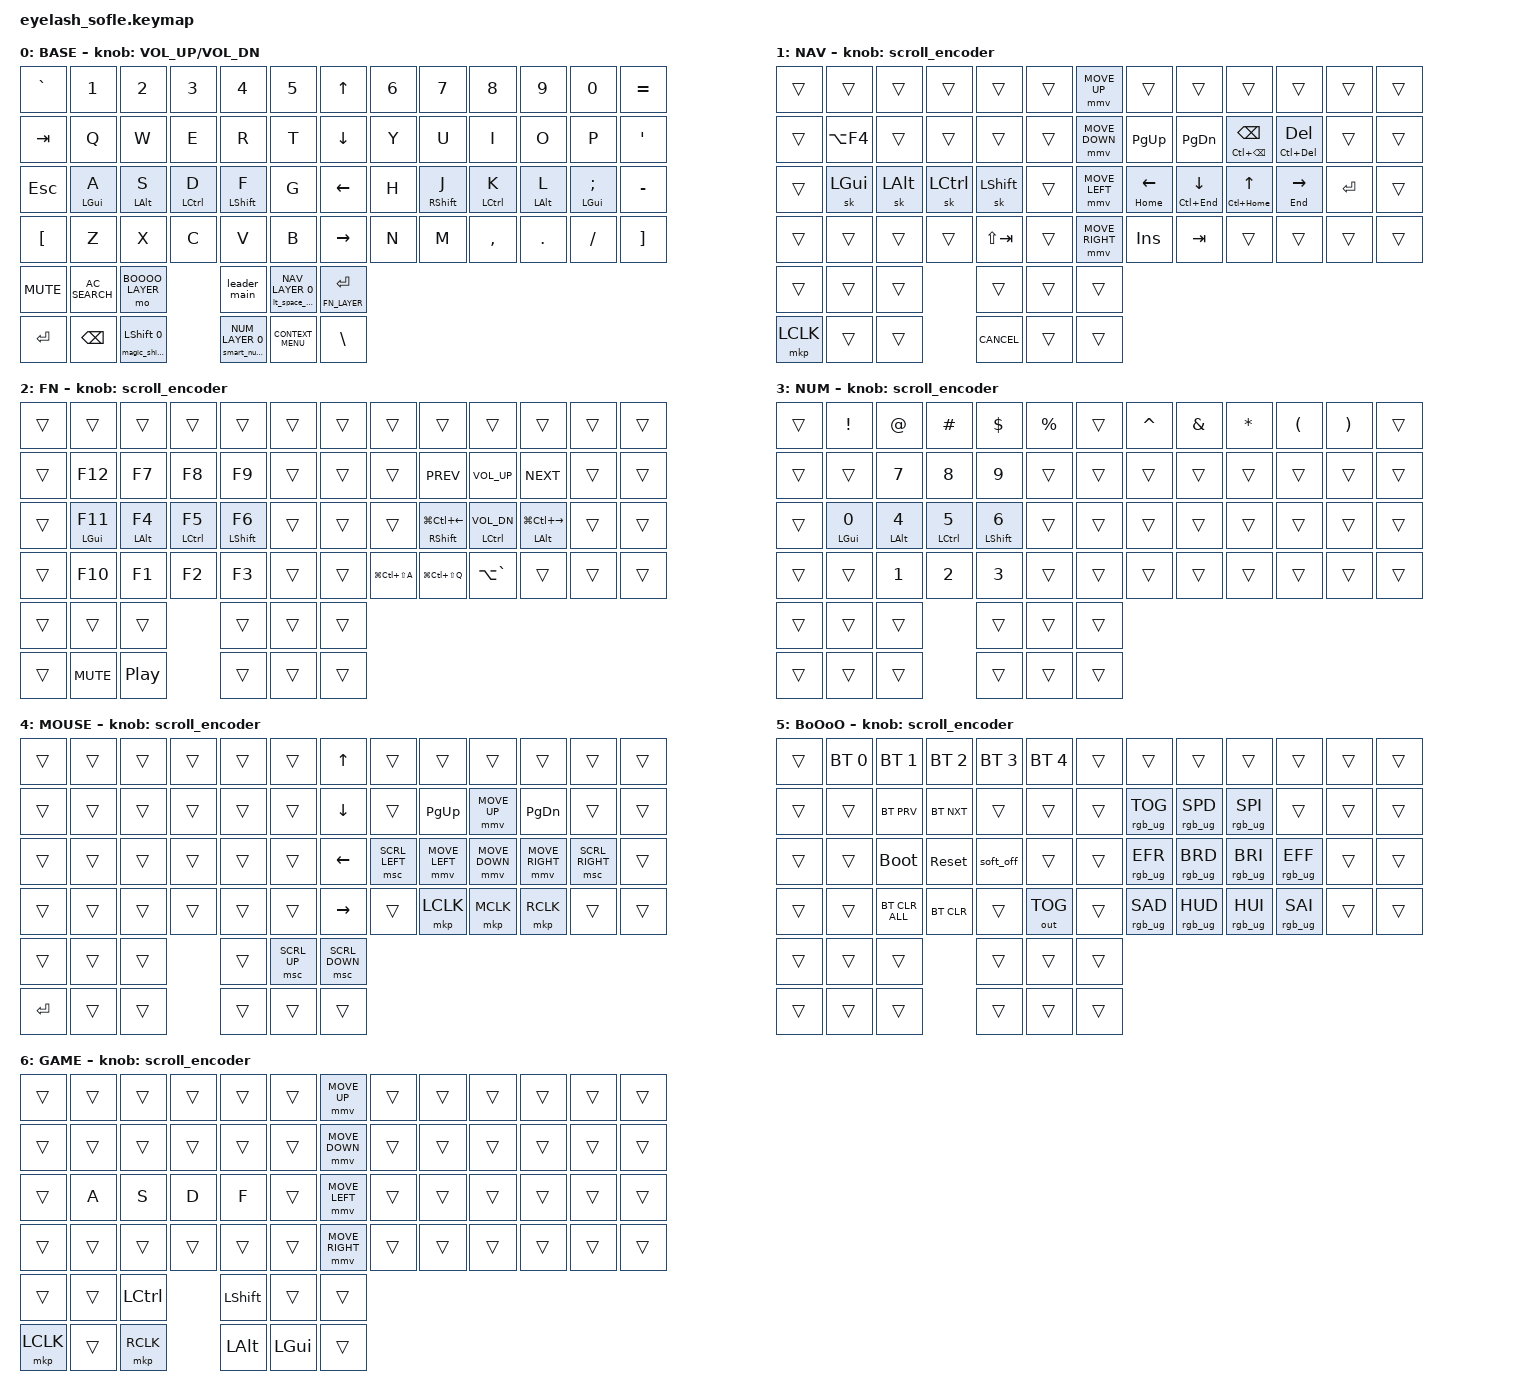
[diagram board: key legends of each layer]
// vim: ft=dts

#define ZMK_POINTING_DEFAULT_MOVE_VAL 1200
#define ZMK_POINTING_DEFAULT_SCRL_VAL 25

// --- Key Position Macros ---
#define KEYS_L 0 1 2 3 4 5 13 14 15 16 17 18 26 27 28 29 30 31 39 40 41 42 43 44
#define KEYS_R 6 7 8 9 10 11 12 19 20 21 22 23 24 25 32 33 34 35 36 37 38 45 46 47 48 49 50 51
#define THUMBS 52 53 54 55 56 57 58 59 60 61 62 63

// --- Global Settings & Layer Names ---
#define QUICK_TAP_MS 175
#define THUMB_TAPPING_TERM 200

#define BASE_LAYER 0
#define NAV_LAYER 1
#define FN_LAYER 2
#define NUM_LAYER 3
#define MOUSE_LAYER 4
#define BOOOO_LAYER 5
#define GAME_LAYER 6

// --- Includes ---
#include <input/processors.dtsi>
#include <zephyr/dt-bindings/input/input-event-codes.h>
#include <behaviors.dtsi>
#include <dt-bindings/zmk/bt.h>
#include <dt-bindings/zmk/keys.h>
#include <dt-bindings/zmk/outputs.h>
#include <dt-bindings/zmk/pointing.h>
#include <dt-bindings/zmk/rgb.h>
#define HOST_OS 1
#include "zmk-helpers/helper.h"
#include "zmk-helpers/unicode-chars/portuguese.dtsi"
#include "zmk-helpers/unicode-chars/greek.dtsi"
#include "zmk-helpers/unicode-chars/currency.dtsi"

// --- Pointing Device Settings ---
&mmv_input_listener { input-processors = <&zip_xy_scaler 2 1>; };
&msc_input_listener { input-processors = <&zip_scroll_scaler 2 1>; };
&msc { acceleration-exponent = <1>; time-to-max-speed-ms = <100>; delay-ms = <0>; };
&mmv { time-to-max-speed-ms = <500>; acceleration-exponent = <1>; trigger-period-ms = <16>; };


// --- C Macros for Keymap Readability ---
#define SMART_NUM(LAYER) &smart_num_hold_tap LAYER LAYER

#define NAV_LEFT  &mt_nav_core HOME   LEFT  // Tap: left  | Long-tap: start of line.
#define NAV_RIGHT &mt_nav_core END    RIGHT // Tap: right | Long-tap: end   of line.
#define NAV_UP    &mt_nav_core LC(HOME) UP    // Tap: up    | Long-tap: start of doc.
#define NAV_DOWN  &mt_nav_core LC(END)  DOWN  // Tap: down  | Long-tap: end   of doc.
#define NAV_BSPC  &mt_nav_core LC(BSPC) BSPC  // Tap: bspc  | Long-tap: delete word bwd.
#define NAV_DEL   &mt_nav_core LC(DEL)  DEL   // Tap: del   | Long-tap: delete word fwd.

#define COMMA_MORPH &comma_morph_level1
#define DOT_MORPH &dot_morph_level1
#define QMARK_EXCL_MORPH &qmark_excl_morph
#define COPY_CUT_DANCE &copy_cut_dance
#define PIN_WIN   &kp LG(LC(LS(Q)))
#define PIN_APP   &kp LG(LC(LS(A)))
#define DSK_MGR   &kp LA(GRAVE)

ZMK_BEHAVIOR(magic_shift_tap_action, mod_morph,
    bindings = <&adaptive_shift_repeat>, <&caps_word>;
    mods = <(MOD_LSFT|MOD_RSFT)>;
)
ZMK_BEHAVIOR(adaptive_shift_repeat, adaptive_key,
    bindings = <&sk LSHFT>;
    repeat { trigger-keys = <A B C D E F G H I J K L M N O P Q R S T U V W X Y Z>; bindings = <&key_repeat>; max-prior-idle-ms = <1200>; strict-modifiers; };
)
ZMK_HOLD_TAP(magic_shift_hold_tap,
    bindings = <&kp>, <&magic_shift_tap_action>;
    flavor = "balanced";
    tapping-term-ms = <THUMB_TAPPING_TERM>;
    quick-tap-ms = <QUICK_TAP_MS>;
)
ZMK_BEHAVIOR(num_tap_dance, tap_dance,
    bindings = <&tog NUM_LAYER>, <&sl NUM_LAYER>;
    tapping-term-ms = <THUMB_TAPPING_TERM>;
)
ZMK_HOLD_TAP(smart_num_hold_tap,
    bindings = <&mo>, <&num_tap_dance>;
    flavor = "balanced";
    tapping-term-ms = <THUMB_TAPPING_TERM>;
    quick-tap-ms = <QUICK_TAP_MS>;
)
ZMK_MACRO(dot_space_macro, bindings = <&kp DOT &kp SPACE &sk LSHFT>; wait-ms = <0>; tap-ms = <5>;)
ZMK_BEHAVIOR(space_morph_action, mod_morph,
    bindings = <&kp SPACE>, <&dot_space_macro>;
    mods = <(MOD_LSFT|MOD_RSFT)>;
)
ZMK_HOLD_TAP(lt_space_nav_layer,
    bindings = <&mo>, <&space_morph_action>;
    flavor = "balanced";
    tapping-term-ms = <THUMB_TAPPING_TERM>;
    quick-tap-ms = <QUICK_TAP_MS>;
)
ZMK_UNICODE_PAIR(pt_o_tilde, N0, N0, F, N5, N0, N0, D, N5)
/ {
    behaviors {
        HomeRowModLeft: HomeRowModLeft {
            compatible = "zmk,behavior-hold-tap"; label = "HOMEROWMODLEFT";
            bindings = <&kp>, <&kp>;
            #binding-cells = <2>; flavor = "balanced";
            tapping-term-ms = <280>; quick-tap-ms = <175>; require-prior-idle-ms = <150>;
            hold-trigger-on-release; hold-trigger-key-positions = <KEYS_R THUMBS>;
        };
        HomeRowModRight: HomeRowModRight {
            compatible = "zmk,behavior-hold-tap"; label = "HOMEROWMODRIGHT";
            bindings = <&kp>, <&kp>;
            #binding-cells = <2>; flavor = "balanced";
            tapping-term-ms = <280>; quick-tap-ms = <175>; require-prior-idle-ms = <150>;
            hold-trigger-on-release; hold-trigger-key-positions = <KEYS_L THUMBS>;
        };
        scroll_encoder: scroll_encoder {
            compatible = "zmk,behavior-sensor-rotate"; #sensor-binding-cells = <0>;
            bindings = <&msc SCRL_DOWN>, <&msc SCRL_UP>; tap-ms = <100>;
        };
        mt_nav_core: mt_nav_core {
            compatible = "zmk,behavior-hold-tap"; label = "MT_NAV_CORE";
            bindings = <&kp>, <&kp>;
            #binding-cells = <2>; flavor = "tap-preferred";
            tapping-term-ms = <350>; quick-tap-ms = <175>;
        };
        leader_main: leader_main {
            compatible = "zmk,behavior-leader-key"; label = "LEADER";
            #binding-cells = <0>;
            ignore-keys = <LSHFT RSHFT>;
            sequence_sys_reset { bindings = <&sys_reset>; sequence = <R E S E T>; };
            sequence_paste { bindings = <&kp LS(INS)>; sequence = <P>; };
            // Portuguese sequences
            sequence_cedilla { bindings = <&pt_c_cedilla>; sequence = <C COMMA>; };
            sequence_a_acute { bindings = <&pt_aa>; sequence = <A APOS>; };
            sequence_e_acute { bindings = <&pt_e_acute>; sequence = <E APOS>; };
            sequence_o_acute { bindings = <&pt_oa>; sequence = <O APOS>; };
            sequence_a_tilde { bindings = <&pt_a_tilde>; sequence = <A MINUS>; };
            sequence_o_tilde { bindings = <&pt_o_tilde>; sequence = <O MINUS>; };
            sequence_a_circ { bindings = <&pt_a_circumflex>; sequence = <A CARET>; };
            sequence_e_circ { bindings = <&pt_e_circumflex>; sequence = <E CARET>; };
            sequence_o_circ { bindings = <&pt_o_circumflex>; sequence = <O CARET>; };
            sequence_a_grave { bindings = <&pt_a_grave>; sequence = <A GRAVE>; };
            // // Greek sequences
            // el_alpha {bindings = <&el_alpha>;    sequence = <G A>; };  // α
            // el_beta {bindings = <&el_beta>;    sequence = <G B>; };  // β
            // el_gamma {bindings = <&el_gamma>;    sequence = <G G>; };  // γ
            // el_delta {bindings = <&el_delta>;    sequence = <G D>; };  // δ
            // el_epsilon {bindings = <&el_epsilon>;    sequence = <G E>; };  // ε
            // el_zeta {bindings = <&el_zeta>;    sequence = <G Z>; };  // ζ
            // el_eta {bindings = <&el_eta>;    sequence = <G H>; };  // η
            // el_theta {bindings = <&el_theta>;    sequence = <G V>; };  // θ
            // el_iota {bindings = <&el_iota>;    sequence = <G I>; };  // ι
            // el_kappa {bindings = <&el_kappa>;    sequence = <G K>; };  // κ
            // el_lambda {bindings = <&el_lambda>;    sequence = <G L>; };  // λ
            // el_mu {bindings = <&el_mu>;    sequence = <G M>; };  // μ
            // el_nu {bindings = <&el_nu>;    sequence = <G N>; };  // ν
            // el_xi {bindings = <&el_xi>;    sequence = <G X>; };  // ξ
            // el_omikron {bindings = <&el_omikron>;    sequence = <G O>; };  // ο
            // el_pi {bindings = <&el_pi>;    sequence = <G P>; };  // π
            // el_rho {bindings = <&el_rho>;    sequence = <G R>; };  // ρ
            // el_sigma {bindings = <&el_sigma>;    sequence = <G S>; };  // σ
            // el_tau {bindings = <&el_tau>;    sequence = <G T>; };  // τ
            // el_upsilon {bindings = <&el_upsilon>;    sequence = <G U>; };  // υ
            // el_phi {bindings = <&el_phi>;    sequence = <G F>; };  // ϕ
            // el_chi {bindings = <&el_chi>;    sequence = <G C>; };  // χ
            // el_psi {bindings = <&el_psi>;    sequence = <G Y>; };  // ψ
            // el_omega {bindings = <&el_omega>;    sequence = <G W>; };  // ω
            // // Currency symbols
            curr_dollar { bindings = <&curr_dollar>; sequence = <M D>; };
            curr_pound { bindings = <&curr_pound>; sequence = <M P>; };
            curr_cent { bindings = <&curr_cent>; sequence = <M C>; };
            curr_euro { bindings = <&curr_euro>; sequence = <M E>;};
            curr_bitcoin { bindings = <&curr_bitcoin>; sequence = <M B>; };
        };
        comma_morph_level1: comma_morph_level1 { compatible = "zmk,behavior-mod-morph"; label = "COMMA_L1"; #binding-cells = <0>; bindings = <&kp COMMA>, <&comma_morph_level2>; mods = <(MOD_LSFT|MOD_RSFT)>; };
        comma_morph_level2: comma_morph_level2 { compatible = "zmk,behavior-mod-morph"; label = "COMMA_L2"; #binding-cells = <0>; bindings = <&kp SEMICOLON>, <&kp LT>; mods = <(MOD_LCTL|MOD_RCTL)>; };
        dot_morph_level1: dot_morph_level1 { compatible = "zmk,behavior-mod-morph"; label = "DOT_L1"; #binding-cells = <0>; bindings = <&kp DOT>, <&dot_morph_level2>; mods = <(MOD_LSFT|MOD_RSFT)>; };
        dot_morph_level2: dot_morph_level2 { compatible = "zmk,behavior-mod-morph"; label = "DOT_L2"; #binding-cells = <0>; bindings = <&kp COLON>, <&kp GT>; mods = <(MOD_LCTL|MOD_RCTL)>; };
        qmark_excl_morph: qmark_excl_morph { compatible = "zmk,behavior-mod-morph"; label = "QMARK_EXCL"; #binding-cells = <0>; bindings = <&kp QMARK>, <&kp EXCL>; mods = <(MOD_LSFT|MOD_RSFT)>; };
        copy_cut_dance: copy_cut_dance { compatible = "zmk,behavior-tap-dance"; label = "COPY_CUT"; #binding-cells = <0>; tapping-term-ms = <200>; bindings = <&kp LC(C)>, <&kp LC(X)>; };
    };

    combos {
        compatible = "zmk,combos";
        MouseLayerToggle { bindings = <&tog MOUSE_LAYER>; key-positions = <44 46>; timeout-ms = <50>; };
        CopyCutCombo { bindings = <COPY_CUT_DANCE>; key-positions = <41 42>; timeout-ms = <50>; };
        GameLayerToggle { bindings = <&tog GAME_LAYER>; key-positions = <4 2>; timeout-ms = <50>; };
    };

    keymap {
        compatible = "zmk,keymap";
        layer_0 {
            display-name = "BASE";
            bindings = <
                &kp GRAVE       &kp N1          &kp N2          &kp N3          &kp N4          &kp N5          &kp UP      &kp N6          &kp N7          &kp N8          &kp N9          &kp N0          &kp EQUAL
                &kp TAB         &kp Q           &kp W           &kp E           &kp R           &kp T           &kp DOWN    &kp Y           &kp U           &kp I           &kp O           &kp P           &kp APOS
                &kp ESC         &HomeRowModLeft LGUI A  &HomeRowModLeft LALT S &HomeRowModLeft LCTRL D &HomeRowModLeft LSHFT F          &kp G           &kp LEFT    &kp H           &HomeRowModRight RSHFT J &HomeRowModRight LCTRL K &HomeRowModRight LALT L &HomeRowModRight LGUI SEMI       &kp MINUS
                &kp LBKT        &kp Z           &kp X           &kp C           &kp V           &kp B           &kp RIGHT   &kp N           &kp M           &kp COMMA     &kp DOT       &kp SLASH  &kp RBKT
                /* Thumbs (52-63) */
                &kp C_MUTE &kp C_AC_SEARCH &mo BOOOO_LAYER  &leader_main &lt_space_nav_layer NAV_LAYER 0 &lt FN_LAYER RET
                &kp ENTER  &kp BSPC &magic_shift_hold_tap LSHFT 0 &smart_num_hold_tap NUM_LAYER 0 &kp K_CONTEXT_MENU &kp BACKSLASH
            >;
            sensor-bindings = <&inc_dec_kp C_VOLUME_UP C_VOL_DN>;
        };

        layer_1 {
            display-name = "NAV";
            bindings = <
                &trans &trans     &trans   &trans     &trans    &trans &mmv MOVE_UP    &trans     &trans     &trans &trans &trans &trans
                &trans &kp LA(F4) &trans &trans &trans &trans &mmv MOVE_DOWN    &kp PG_UP  &kp PG_DN NAV_BSPC NAV_DEL &trans &trans
                &trans &sk LGUI   &sk LALT &sk LCTRL  &sk LSHFT &trans &mmv MOVE_LEFT NAV_LEFT NAV_DOWN NAV_UP NAV_RIGHT &kp RET  &trans
                &trans &trans     &trans   &trans     &kp LS(TAB)    &trans &mmv MOVE_RIGHT    &kp INS    &kp TAB    &trans &trans &trans &trans
                /* Thumbs (52-63) */
                &trans &trans &trans &trans &trans &trans
                &mkp LCLK &trans &trans &kp K_CANCEL &trans &trans
            >;
            sensor-bindings = <&scroll_encoder>;
        };

        layer_2 {
            display-name = "FN";
            bindings = <
                &trans &trans    &trans     &trans     &trans     &trans &trans    &trans &trans &trans &trans   &trans     &trans
                &trans &kp F12    &kp F7     &kp F8     &kp F9     &trans &trans    &trans &kp C_PREV     &kp C_VOL_UP       &kp C_NEXT       &trans     &trans
                &trans &HomeRowModLeft LGUI F11  &HomeRowModLeft LALT F4 &HomeRowModLeft LCTRL F5 &HomeRowModLeft LSHFT F6   &trans &trans    &trans &HomeRowModRight RSHIFT LG(LC(LEFT))     &HomeRowModRight LCTRL C_VOL_DN      &HomeRowModRight LALT LG(LC(RIGHT))       &trans     &trans
                &trans &kp F10     &kp F1     &kp F2     &kp F3     &trans &trans    PIN_APP PIN_WIN     DSK_MGR       &trans       &trans     &trans
                /* Thumbs (52-63) */
                &trans &trans &trans &trans &trans     &trans
                &trans &kp C_MUTE &kp C_PP &trans &trans     &trans
            >;
            sensor-bindings = <&scroll_encoder>;
        };

        layer_3 {
            display-name = "NUM";
            bindings = <
                &trans &kp EXCL  &kp AT &kp HASH &kp DOLLAR &kp PERCENT &trans    &kp CARET &kp AMPERSAND &kp ASTERISK &kp LPAR &kp RPAR &trans
                &trans &trans &kp N7 &kp N8 &kp N9 &trans &trans    &trans &trans &trans &trans &trans &trans
                &trans &HomeRowModLeft LGUI N0  &HomeRowModLeft LALT N4 &HomeRowModLeft LCTRL N5 &HomeRowModLeft LSHFT N6 &trans &trans    &trans &trans &trans &trans &trans &trans
                &trans &trans &kp N1 &kp N2 &kp N3 &trans &trans    &trans &trans &trans &trans &trans &trans
                /* Thumbs (52-63) */
                &trans &trans &trans &trans &trans &trans
                &trans &trans &trans &trans &trans &trans
            >;
            sensor-bindings = <&scroll_encoder>;
        };

        layer_4 {
            display-name = "MOUSE";
            bindings = <
                &trans &trans &trans &trans &trans &trans &kp UP    &trans   &trans    &trans    &trans    &trans &trans
                &trans &trans &trans &trans &trans &trans &kp DOWN    &trans   &kp PG_UP &mmv MOVE_UP &kp PG_DN &trans &trans
                &trans &trans &trans &trans &trans &trans &kp LEFT    &msc SCRL_LEFT &mmv MOVE_LEFT  &mmv MOVE_DOWN &mmv MOVE_RIGHT  &msc SCRL_RIGHT &trans
                &trans &trans &trans &trans &trans &trans &kp RIGHT    &trans  &mkp LCLK &mkp MCLK &mkp RCLK &trans &trans
                /* Thumbs (52-63) */
                &trans &trans &trans &trans &msc SCRL_UP &msc SCRL_DOWN
                &kp ENTER &trans &trans &trans &trans &trans
            >;
            sensor-bindings = <&scroll_encoder>;
        };

        layer_5 {
            display-name = "BoOoO";
            bindings = <
                &trans       &bt BT_SEL 0 &bt BT_SEL 1 &bt BT_SEL 2 &bt BT_SEL 3 &bt BT_SEL 4 &trans    &trans          &trans        &trans        &trans        &trans     &trans
                &trans       &trans       &bt BT_PRV   &bt BT_NXT   &trans       &trans &trans    &rgb_ug RGB_TOG &rgb_ug RGB_SPD &rgb_ug RGB_SPI &trans        &trans     &trans
                &trans       &trans       &bootloader  &sys_reset   &soft_off    &trans &trans    &rgb_ug RGB_EFR &rgb_ug RGB_BRD &rgb_ug RGB_BRI &rgb_ug RGB_EFF &trans     &trans
                &trans       &trans       &bt BT_CLR_ALL &bt BT_CLR &trans       &out OUT_TOG &trans &rgb_ug RGB_SAD &rgb_ug RGB_HUD &rgb_ug RGB_HUI &rgb_ug RGB_SAI &trans     &trans
                /* Thumbs (52-63) */
                &trans &trans &trans &trans &trans &trans
                &trans &trans &trans &trans &trans &trans
            >;
            sensor-bindings = <&scroll_encoder>;
        };

        layer_6 {
            display-name = "GAME";
            bindings = <
                &trans          &trans          &trans          &trans          &trans          &trans          &mmv MOVE_UP    &trans          &trans          &trans          &trans          &trans          &trans
                &trans          &trans          &trans          &trans          &trans          &trans          &mmv MOVE_DOWN  &trans          &trans          &trans          &trans          &trans          &trans
                &trans          &kp A           &kp S           &kp D           &kp F           &trans          &mmv MOVE_LEFT  &trans          &trans          &trans          &trans          &trans          &trans
                &trans          &trans          &trans          &trans          &trans          &trans          &mmv MOVE_RIGHT &trans          &trans          &trans          &trans          &trans          &trans
                /* Thumbs (52-63) */
                &trans &trans &kp LCTRL &kp LSHFT &trans &trans
                &mkp LCLK &trans &mkp RCLK &kp LALT &kp LGUI &trans
            >;
            sensor-bindings = <&scroll_encoder>;
        };
    };
};
